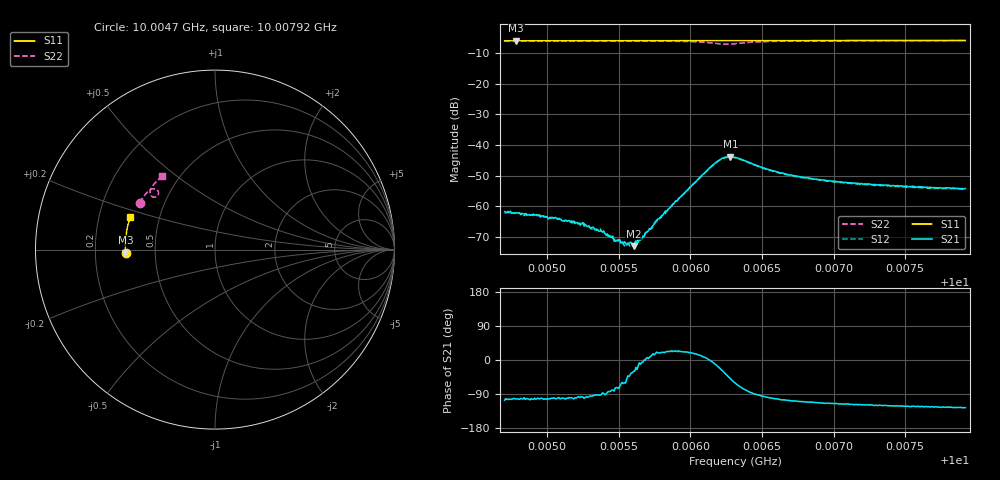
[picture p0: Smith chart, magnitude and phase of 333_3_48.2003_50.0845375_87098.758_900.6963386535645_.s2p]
#  HZ  S  RI  R  50.00
! Rohde & Schwarz Vector Network Analyzer
! Rohde-Schwarz,ZNB20-2Port,1311601062101988,3.16
! Created: UTC 3/20/2024, 11:50:59 AM
! freq[Hz]  re:S11  im:S11  re:S21  im:S21  re:S12  im:S12  re:S22  im:S22
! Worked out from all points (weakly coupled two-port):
!   401 points, 10.0047 GHz to 10.00792 GHz, reference 50 ohm
!   highest |S21| = -43.77 dB at 10.00628 GHz (marker M1); lowest = -72.9 dB at 10.0056 GHz (marker M2)
!   lowest |S11| = -6.0 dB at 10.00478 GHz (marker M3), VSWR 2.99, Z = 16.7 - j0.72 ohm
!   |S11| at or under -10 dB: nowhere
!   |S22| runs from -7.2 to -6.0 dB; largest |S21 - S12| = 0.00038
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1.0004704e10  -0.4986 -0.0213  -0.000229 -0.000789  -0.000111 -0.000772  -0.4192 0.2603
1.0004784e10  -0.4986 -0.0162  -0.000171 -0.000767  -0.00014 -0.000758  -0.4166 0.2651
1.0005073e10  -0.4997 0.00257  -0.000113 -0.000609  -0.000103 -0.000618  -0.4061 0.2823
1.0005242e10  -0.4999 0.0137  -6.44e-05 -0.000525  -5.21e-05 -0.000488  -0.3996 0.2922
1.0005274e10  -0.4999 0.0157  -5.73e-05 -0.000476  -4.95e-05 -0.000491  -0.398 0.2942
1.0005315e10  -0.4999 0.0185  -3.99e-05 -0.000453  -7.92e-06 -0.000427  -0.3966 0.2968
1.0005387e10  -0.4998 0.0231  2.09e-05 -0.000383  4.15e-05 -0.000388  -0.3934 0.3011
1.0005411e10  -0.4998 0.0245  -1.89e-08 -0.000345  5.15e-05 -0.000337  -0.3922 0.3025
1.0005483e10  -0.4998 0.0294  8.23e-05 -0.000266  8.02e-05 -0.000263  -0.3889 0.3069
1.0005532e10  -0.4997 0.0323  0.000115 -0.000217  9.92e-05 -0.000224  -0.3864 0.3098
1.0005588e10  -0.4995 0.0361  0.000214 -0.000144  0.000196 -0.000122  -0.3834 0.3134
1.0005604e10  -0.4995 0.0371  0.000195 -0.000113  0.000206 -0.000132  -0.3825 0.3144
1.000566e10  -0.4992 0.0407  0.000304 -3.53e-05  0.000294 -1.45e-05  -0.3794 0.3181
1.0005781e10  -0.4988 0.0485  0.000592 0.000201  0.000593 0.000213  -0.3713 0.3257
1.0006159e10  -0.4962 0.0728  0.00472 -0.000573  0.00467 -0.000344  -0.3184 0.3278
1.0006223e10  -0.4955 0.0767  0.00538 -0.00286  0.00536 -0.00257  -0.3154 0.3076
1.0006279e10  -0.4952 0.0801  0.00419 -0.00495  0.00429 -0.0046  -0.3286 0.2934
1.0006312e10  -0.4949 0.0821  0.0031 -0.00547  0.00331 -0.00522  -0.339 0.292
1.0006609e10  -0.4926 0.1013  -0.000819 -0.00354  -0.000668 -0.00348  -0.3589 0.3336
1.000685e10  -0.4896 0.1167  -0.00104 -0.00263  -0.000922 -0.00264  -0.3482 0.3539
1.0007389e10  -0.4816 0.1503  -0.00112 -0.00188  -0.00101 -0.00192  -0.3217 0.3844
1.0007919e10  -0.4712 0.1828  -0.00114 -0.00158  -0.00105 -0.00161  -0.2949 0.4084
